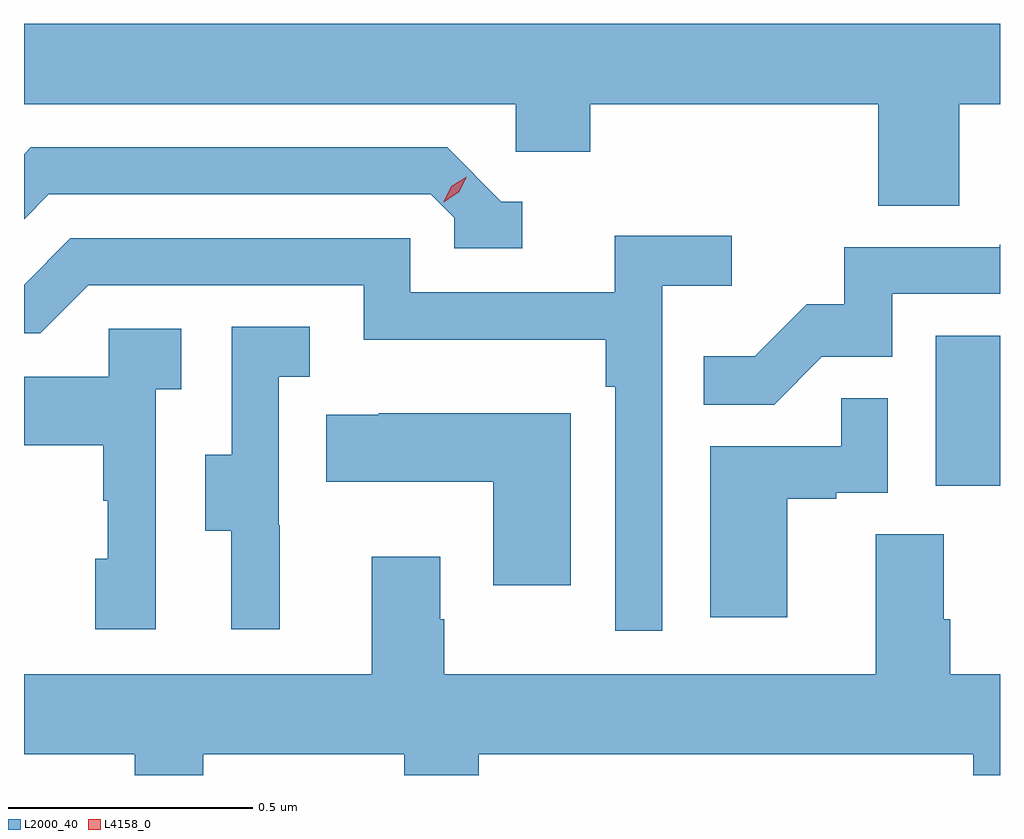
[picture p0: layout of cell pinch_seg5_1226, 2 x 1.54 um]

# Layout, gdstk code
import gdstk
lib = gdstk.Library(unit=1e-6, precision=1e-09)
def R(c, l, rs):  # rectangles x0, y0, x1, y1
    for r in rs: c.add(gdstk.rectangle(r[:2], r[2:], *l))
def P(c, l, *ps):  # polygons
    for p in ps: c.add(gdstk.Polygon(p, *l))
L2000_40 = (2000, 40)
L4158_0 = (4158, 0)

pinch_seg5_1226 = lib.new_cell('pinch_seg5_1226')
R(pinch_seg5_1226, L2000_40, [(856.892,846.654,857.024,846.961)])
P(pinch_seg5_1226, L2000_40, [(856.94,847.436),(857.024,847.436),(857.024,847.6),(855.024,847.6),(855.024,847.436),(856.032,847.436),(856.032,847.338),(856.184,847.338),(856.184,847.436),(856.775,847.436),(856.775,847.228),(856.94,847.228)],
  [(856.045,847.236),(856.002,847.236),(855.891,847.347),(855.038,847.347),(855.024,847.333),(855.024,847.2),(855.075,847.251),(855.858,847.251),(855.906,847.203),(855.906,847.14),(856.045,847.14)],
  [(856.332,847.064),(856.474,847.064),(856.474,847.166),(856.235,847.166),(856.235,847.05),(855.816,847.05),(855.816,847.161),(855.119,847.161),(855.024,847.066),(855.024,846.966),(855.057,846.966),(855.156,847.065),(855.72,847.065),(855.72,846.953),(856.216,846.953),(856.216,846.857),(856.236,846.857),(856.236,846.357),(856.332,846.357)],
  [(856.659,846.918),(856.803,846.918),(856.803,847.047),(857.024,847.047),(857.024,847.148),(857.023,847.148),(857.023,847.143),(856.705,847.143),(856.705,847.026),(856.628,847.026),(856.521,846.919),(856.417,846.919),(856.417,846.82),(856.561,846.82)],
  [(855.548,846.573),(855.546,846.573),(855.546,846.877),(855.61,846.877),(855.61,846.98),(855.45,846.98),(855.45,846.717),(855.395,846.717),(855.395,846.562),(855.449,846.562),(855.449,846.36),(855.548,846.36)],
  [(855.294,846.851),(855.346,846.851),(855.346,846.975),(855.198,846.975),(855.198,846.877),(855.024,846.877),(855.024,846.737),(855.186,846.737),(855.186,846.623),(855.196,846.623),(855.196,846.504),(855.17,846.504),(855.17,846.36),(855.294,846.36)],
  [(856.588,846.627),(856.688,846.627),(856.688,846.639),(856.794,846.639),(856.794,846.833),(856.699,846.833),(856.699,846.735),(856.43,846.735),(856.43,846.384),(856.588,846.384)],
  [(856.144,846.802),(855.751,846.802),(855.751,846.799),(855.643,846.799),(855.643,846.662),(855.986,846.662),(855.986,846.45),(856.144,846.45)],
  [(855.391,846.104),(855.803,846.104),(855.803,846.061),(855.956,846.061),(855.956,846.104),(856.969,846.104),(856.969,846.061),(857.024,846.061),(857.024,846.268),(856.922,846.268),(856.922,846.38),(856.909,846.38),(856.909,846.554),(856.769,846.554),(856.769,846.268),(855.885,846.268),(855.885,846.38),(855.877,846.38),(855.877,846.508),(855.737,846.508),(855.737,846.268),(855.024,846.268),(855.024,846.104),(855.251,846.104),(855.251,846.061),(855.391,846.061)])
P(pinch_seg5_1226, L4158_0, [(855.884,847.235),(855.884,847.236),(855.9,847.268),(855.931,847.287),(855.931,847.287),(855.931,847.287),(855.915,847.255),(855.884,847.235)])

lib.write_gds('pinch_seg5_1226.gds')
